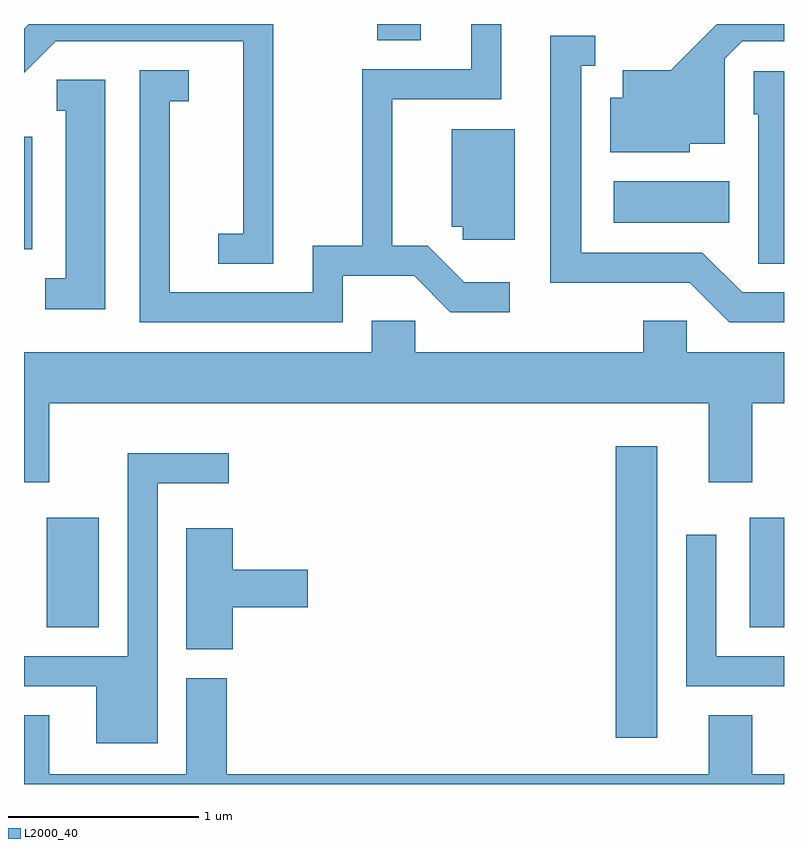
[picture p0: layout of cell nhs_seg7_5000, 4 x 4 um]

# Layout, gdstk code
import gdstk
lib = gdstk.Library(unit=1e-6, precision=1e-09)
def R(c, l, rs):  # rectangles x0, y0, x1, y1
    for r in rs: c.add(gdstk.rectangle(r[:2], r[2:], *l))
def P(c, l, *ps):  # polygons
    for p in ps: c.add(gdstk.Polygon(p, *l))
L2000_40 = (2000, 40)

nhs_seg7_5000 = lib.new_cell('nhs_seg7_5000')
R(nhs_seg7_5000, L2000_40, [(340.726,1772.496,340.944,1774.029), (337.731,1773.076,338.004,1773.654), (341.431,1773.076,341.611,1773.654), (337.611,1775.066,337.654,1775.659), (340.716,1775.206,341.324,1775.424), (339.471,1776.166,339.699,1776.252)])
P(nhs_seg7_5000, L2000_40, [(339.289,1774.926),(339.664,1774.926),(339.854,1774.736),(340.168,1774.736),(340.168,1774.894),(339.927,1774.894),(339.737,1775.084),(339.549,1775.084),(339.549,1775.856),(340.124,1775.856),(340.124,1776.252),(339.966,1776.252),(339.966,1776.014),(339.391,1776.014),(339.391,1775.084),(339.131,1775.084),(339.131,1774.839),(338.379,1774.839),(338.379,1775.846),(338.478,1775.846),(338.478,1776.009),(338.221,1776.009),(338.221,1774.681),(339.289,1774.681)],
  [(338.924,1776.252),(337.637,1776.252),(337.611,1776.226),(337.611,1775.995),(337.777,1776.161),(338.766,1776.161),(338.766,1775.149),(338.633,1775.149),(338.633,1774.991),(338.924,1774.991)],
  [(341.114,1775.621),(341.299,1775.621),(341.299,1776.069),(341.392,1776.161),(341.611,1776.161),(341.611,1776.252),(341.257,1776.252),(341.014,1776.009),(340.761,1776.009),(340.761,1775.864),(340.696,1775.864),(340.696,1775.576),(341.114,1775.576)],
  [(341.611,1774.839),(341.392,1774.839),(341.182,1775.049),(340.544,1775.049),(340.544,1776.031),(340.618,1776.031),(340.618,1776.189),(340.381,1776.189),(340.381,1774.891),(341.114,1774.891),(341.324,1774.681),(341.611,1774.681)],
  [(341.611,1776.004),(341.451,1776.004),(341.451,1775.776),(341.476,1775.776),(341.476,1774.991),(341.611,1774.991)],
  [(338.039,1775.959),(337.783,1775.959),(337.783,1775.796),(337.831,1775.796),(337.831,1774.914),(337.723,1774.914),(337.723,1774.751),(338.039,1774.751)],
  [(340.194,1775.699),(339.861,1775.699),(339.861,1775.186),(339.921,1775.186),(339.921,1775.116),(340.194,1775.116)],
  [(337.744,1774.256),(341.216,1774.256),(341.216,1773.841),(341.444,1773.841),(341.444,1774.256),(341.611,1774.256),(341.611,1774.524),(341.099,1774.524),(341.099,1774.689),(340.871,1774.689),(340.871,1774.524),(339.669,1774.524),(339.669,1774.689),(339.441,1774.689),(339.441,1774.524),(337.611,1774.524),(337.611,1773.841),(337.744,1773.841)],
  [(338.314,1773.836),(338.688,1773.836),(338.688,1773.994),(338.156,1773.994),(338.156,1772.924),(337.611,1772.924),(337.611,1772.766),(337.991,1772.766),(337.991,1772.466),(338.314,1772.466)],
  [(338.709,1773.181),(339.104,1773.181),(339.104,1773.379),(338.709,1773.379),(338.709,1773.599),(338.466,1773.599),(338.466,1772.961),(338.709,1772.961)],
  [(341.611,1772.924),(341.254,1772.924),(341.254,1773.563),(341.096,1773.563),(341.096,1772.766),(341.611,1772.766)],
  [(341.611,1772.304),(341.444,1772.304),(341.444,1772.614),(341.216,1772.614),(341.216,1772.304),(338.679,1772.304),(338.679,1772.809),(338.466,1772.809),(338.466,1772.304),(337.744,1772.304),(337.744,1772.614),(337.611,1772.614),(337.611,1772.252),(341.611,1772.252)])

lib.write_gds('nhs_seg7_5000.gds')
